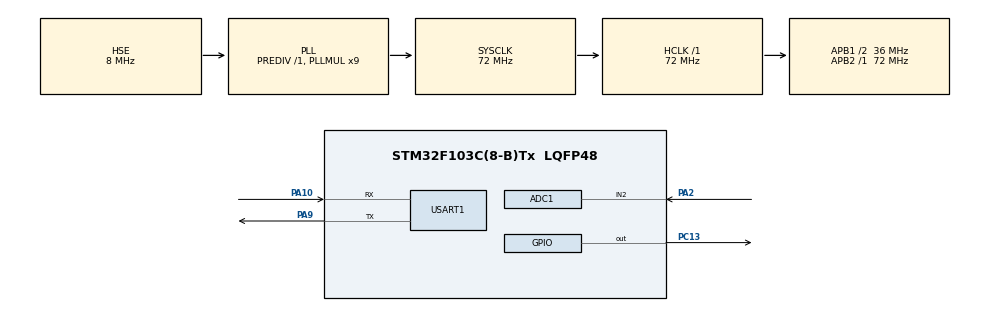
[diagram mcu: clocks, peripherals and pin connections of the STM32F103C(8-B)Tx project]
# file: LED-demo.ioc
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ADC1.Channel-2\#ChannelRegularConversion=ADC_CHANNEL_2
ADC1.NbrOfConversionFlag=1
ADC1.Rank-2\#ChannelRegularConversion=1
ADC1.SamplingTime-2\#ChannelRegularConversion=ADC_SAMPLETIME_71CYCLES_5
ADC1.master=1
Mcu.Family=STM32F1
Mcu.Name=STM32F103C(8-B)Tx
Mcu.Package=LQFP48
NVIC.PriorityGroup=NVIC_PRIORITYGROUP_4
NVIC.TIM2_IRQn=true\:0\:0\:false\:false\:true\:true\:true\:true
NVIC.USART1_IRQn=true\:0\:0\:false\:false\:true\:true\:true\:true
PA10.Mode=Asynchronous
PA10.Signal=USART1_RX
PA13.Mode=Serial_Wire
PA13.Signal=SYS_JTMS-SWDIO
PA14.Mode=Serial_Wire
PA14.Signal=SYS_JTCK-SWCLK
PA2.Signal=ADCx_IN2
PA9.Mode=Asynchronous
PA9.Signal=USART1_TX
PC13-TAMPER-RTC.GPIO_ModeDefaultOutputPP=GPIO_MODE_OUTPUT_OD
PC13-TAMPER-RTC.GPIO_PuPd=GPIO_NOPULL
PC13-TAMPER-RTC.PinState=GPIO_PIN_SET
PC13-TAMPER-RTC.Signal=GPIO_Output
PD0-OSC_IN.Mode=HSE-External-Oscillator
PD0-OSC_IN.Signal=RCC_OSC_IN
PD1-OSC_OUT.Mode=HSE-External-Oscillator
PD1-OSC_OUT.Signal=RCC_OSC_OUT
ProjectManager.HeapSize=0x200
ProjectManager.StackSize=0x400
ProjectManager.TargetToolchain=STM32CubeIDE
RCC.ADCPresc=RCC_ADCPCLK2_DIV6
RCC.AHBFreq_Value=72000000
RCC.APB1CLKDivider=RCC_HCLK_DIV2
RCC.APB1Freq_Value=36000000
RCC.APB1TimFreq_Value=72000000
RCC.APB2Freq_Value=72000000
RCC.APB2TimFreq_Value=72000000
RCC.HCLKFreq_Value=72000000
RCC.PLLMUL=RCC_PLL_MUL9
RCC.PLLSourceVirtual=RCC_PLLSOURCE_HSE
RCC.SYSCLKFreq_VALUE=72000000
RCC.SYSCLKSource=RCC_SYSCLKSOURCE_PLLCLK
RCC.USBFreq_Value=72000000
SH.ADCx_IN2.0=ADC1_IN2,IN2
TIM2.Period=9
TIM2.Prescaler=7199
USART1.VirtualMode=VM_ASYNC
VP_ADC1_Vref_Input.Mode=IN-Vrefint
VP_TIM2_VS_ClockSourceINT.Mode=Internal
board=custom

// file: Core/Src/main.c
/* USER CODE BEGIN Header */
/**
  ******************************************************************************
  * @file           : main.c
  * @brief          : Main program body
  ******************************************************************************
  * @attention
  *
  * Copyright (c) 2026 STMicroelectronics.
  * All rights reserved.
  *
  * This software is licensed under terms that can be found in the LICENSE file
  * in the root directory of this software component.
  * If no LICENSE file comes with this software, it is provided AS-IS.
  *
  ******************************************************************************
  */
/* USER CODE END Header */
#include "main.h"

/* USER CODE BEGIN Includes */
#include <stdio.h>
#include <string.h>
/* USER CODE END Includes */

ADC_HandleTypeDef hadc1;

TIM_HandleTypeDef htim2;

UART_HandleTypeDef huart1;

/* USER CODE BEGIN PV */
#define RX_BUF_SIZE 64
#define ADC_BUF_SIZE 16
/* USER CODE END PV */

void SystemClock_Config(void);
static void MX_GPIO_Init(void);
static void MX_USART1_UART_Init(void);
static void MX_TIM2_Init(void);
static void MX_ADC1_Init(void);

/* USER CODE BEGIN 0 */
typedef enum{
	REG_ADC_RAW = 0,
	REG_ADC_FILT,
	REG_PERIOD_MS,
	REG_OVF_CNT_H,
	REG_OVF_CNT_L,
	REG_SIZE
}reg_index_t;
uint8_t rx_byte;
uint8_t rx_buf[RX_BUF_SIZE];
volatile uint16_t reg_data[REG_SIZE];//reg[0]:原始�? ; reg[1]:滤波�? ; reg[2]:采样周期 ; reg[3]:溢出计数--overflow_cnt�?16�? ; reg[4]: overflow_cnt�?16�?;
volatile uint16_t rx_head = 0;
volatile uint16_t rx_tail = 0;
volatile uint32_t overflow_cnt = 0;
volatile uint32_t tick_ms = 0;
volatile uint16_t adc_raw = 0;
uint8_t adc_buf_idx = 0;
uint16_t hist_filled = 0;
/* USER CODE END 0 */

int main(void)
{

  /* MCU Configuration--------------------------------------------------------*/

  /* Reset of all peripherals, Initializes the Flash interface and the Systick. */
  HAL_Init();

  /* Configure the system clock */
  SystemClock_Config();

  /* Initialize all configured peripherals */
  MX_GPIO_Init();
  MX_USART1_UART_Init();
  MX_TIM2_Init();
  MX_ADC1_Init();
  /* USER CODE BEGIN 2 */
  HAL_UART_Receive_IT(&huart1,&rx_byte,1);

  HAL_TIM_Base_Start_IT(&htim2);
  HAL_ADCEx_Calibration_Start(&hadc1);
  reg_data[REG_PERIOD_MS] = 11;
    /* USER CODE END 2 */

  /* Infinite loop */
  /* USER CODE BEGIN WHILE */
  while (1)
  {
	 /* HAL_GPIO_WritePin(GPIOC,GPIO_PIN_13,GPIO_PIN_RESET);
	  HAL_Delay(1000);
	  HAL_GPIO_WritePin(GPIOC,GPIO_PIN_13,GPIO_PIN_SET);
	  HAL_Delay(1000);*/
	  static uint32_t last_samp = 0;
	  static uint32_t last_out = 0;
	  static uint32_t adc_last = 0;
	  static char buf[64] = {0};
	  static uint16_t adc_hst_buf[ADC_BUF_SIZE]={0};
	  uint32_t sum_buf = 0;
	  static uint32_t count_take = 0;

	  if(reg_data[REG_PERIOD_MS] < 10)
	  {
		  reg_data[REG_PERIOD_MS]=10;
	  }

	  if(tick_ms - last_samp >= 10)
	  {
		  last_samp += 10;

			  HAL_ADC_Start(&hadc1);
			  //HAL_UART_Transmit(&huart1,(uint8_t *)"1s\r\n",4,100);
			  if(HAL_ADC_PollForConversion(&hadc1,10) == HAL_OK)
			  {
				  reg_data[REG_ADC_RAW] = HAL_ADC_GetValue(&hadc1);
				  adc_hst_buf[adc_buf_idx] = reg_data[REG_ADC_RAW];
			  	  adc_buf_idx++;
			  	  count_take++;
			  	  if(hist_filled<ADC_BUF_SIZE)
			  	  {
			  		  hist_filled++;
			  	  }
			  }
			  HAL_ADC_Stop(&hadc1);
		  if(adc_buf_idx >= ADC_BUF_SIZE)
		  {
			  adc_buf_idx = 0;
		  }

	  }
	  if(tick_ms - last_out >= reg_data[REG_PERIOD_MS])
	  		  {
		  	  	  last_out += reg_data[REG_PERIOD_MS];

		  	  	  for(uint16_t i = 0;i<(hist_filled<ADC_BUF_SIZE?hist_filled:ADC_BUF_SIZE);i++)
		  	  	  {
		  	  		  sum_buf += adc_hst_buf[i];
		  	  	  }
	  			  adc_last = sum_buf/(hist_filled<ADC_BUF_SIZE?hist_filled:ADC_BUF_SIZE);
	  			  reg_data[REG_ADC_FILT] = adc_last;
	  			  adc_raw = adc_last * 3300 / 4095;
	  			  uint32_t ovf = ((uint32_t)reg_data[REG_OVF_CNT_H]<<16)|(uint32_t)reg_data[REG_OVF_CNT_L];
	  			  snprintf(buf,sizeof(buf),"ADC:%lu,voltage:%u mV,cycle_count:%lu,over_cnt:%lu\r\n",adc_last,adc_raw,count_take,ovf);

	  			  HAL_UART_Transmit(&huart1,(uint8_t *)buf,strlen(buf),100);

	  		  }
	  while(rx_head != rx_tail)
	  {
		  uint8_t b = rx_buf[rx_tail];
		  rx_tail = (rx_tail+1)%RX_BUF_SIZE;
		  HAL_UART_Transmit(&huart1,&b,1,100);
	  }
    /* USER CODE END WHILE */

  }
}

void SystemClock_Config(void)
{
  RCC_OscInitTypeDef RCC_OscInitStruct = {0};
  RCC_ClkInitTypeDef RCC_ClkInitStruct = {0};
  RCC_PeriphCLKInitTypeDef PeriphClkInit = {0};

  /** Initializes the RCC Oscillators according to the specified parameters
  * in the RCC_OscInitTypeDef structure.
  */
  RCC_OscInitStruct.OscillatorType = RCC_OSCILLATORTYPE_HSE;
  RCC_OscInitStruct.HSEState = RCC_HSE_ON;
  RCC_OscInitStruct.HSEPredivValue = RCC_HSE_PREDIV_DIV1;
  RCC_OscInitStruct.HSIState = RCC_HSI_ON;
  RCC_OscInitStruct.PLL.PLLState = RCC_PLL_ON;
  RCC_OscInitStruct.PLL.PLLSource = RCC_PLLSOURCE_HSE;
  RCC_OscInitStruct.PLL.PLLMUL = RCC_PLL_MUL9;
  if (HAL_RCC_OscConfig(&RCC_OscInitStruct) != HAL_OK)
  {
    Error_Handler();
  }

  /** Initializes the CPU, AHB and APB buses clocks
  */
  RCC_ClkInitStruct.ClockType = RCC_CLOCKTYPE_HCLK|RCC_CLOCKTYPE_SYSCLK
                              |RCC_CLOCKTYPE_PCLK1|RCC_CLOCKTYPE_PCLK2;
  RCC_ClkInitStruct.SYSCLKSource = RCC_SYSCLKSOURCE_PLLCLK;
  RCC_ClkInitStruct.AHBCLKDivider = RCC_SYSCLK_DIV1;
  RCC_ClkInitStruct.APB1CLKDivider = RCC_HCLK_DIV2;
  RCC_ClkInitStruct.APB2CLKDivider = RCC_HCLK_DIV1;

  if (HAL_RCC_ClockConfig(&RCC_ClkInitStruct, FLASH_LATENCY_2) != HAL_OK)
  {
    Error_Handler();
  }
  PeriphClkInit.PeriphClockSelection = RCC_PERIPHCLK_ADC;
  PeriphClkInit.AdcClockSelection = RCC_ADCPCLK2_DIV6;
  if (HAL_RCCEx_PeriphCLKConfig(&PeriphClkInit) != HAL_OK)
  {
    Error_Handler();
  }
}

static void MX_ADC1_Init(void)
{

  ADC_ChannelConfTypeDef sConfig = {0};

  /** Common config
  */
  hadc1.Instance = ADC1;
  hadc1.Init.ScanConvMode = ADC_SCAN_DISABLE;
  hadc1.Init.ContinuousConvMode = DISABLE;
  hadc1.Init.DiscontinuousConvMode = DISABLE;
  hadc1.Init.ExternalTrigConv = ADC_SOFTWARE_START;
  hadc1.Init.DataAlign = ADC_DATAALIGN_RIGHT;
  hadc1.Init.NbrOfConversion = 1;
  if (HAL_ADC_Init(&hadc1) != HAL_OK)
  {
    Error_Handler();
  }

  /** Configure Regular Channel
  */
  sConfig.Channel = ADC_CHANNEL_2;
  sConfig.Rank = ADC_REGULAR_RANK_1;
  sConfig.SamplingTime = ADC_SAMPLETIME_71CYCLES_5;
  if (HAL_ADC_ConfigChannel(&hadc1, &sConfig) != HAL_OK)
  {
    Error_Handler();
  }

}

static void MX_TIM2_Init(void)
{

  TIM_ClockConfigTypeDef sClockSourceConfig = {0};
  TIM_MasterConfigTypeDef sMasterConfig = {0};

  htim2.Instance = TIM2;
  htim2.Init.Prescaler = 7199;
  htim2.Init.CounterMode = TIM_COUNTERMODE_UP;
  htim2.Init.Period = 9;
  htim2.Init.ClockDivision = TIM_CLOCKDIVISION_DIV1;
  htim2.Init.AutoReloadPreload = TIM_AUTORELOAD_PRELOAD_DISABLE;
  if (HAL_TIM_Base_Init(&htim2) != HAL_OK)
  {
    Error_Handler();
  }
  sClockSourceConfig.ClockSource = TIM_CLOCKSOURCE_INTERNAL;
  if (HAL_TIM_ConfigClockSource(&htim2, &sClockSourceConfig) != HAL_OK)
  {
    Error_Handler();
  }
  sMasterConfig.MasterOutputTrigger = TIM_TRGO_RESET;
  sMasterConfig.MasterSlaveMode = TIM_MASTERSLAVEMODE_DISABLE;
  if (HAL_TIMEx_MasterConfigSynchronization(&htim2, &sMasterConfig) != HAL_OK)
  {
    Error_Handler();
  }

}

static void MX_USART1_UART_Init(void)
{

  huart1.Instance = USART1;
  huart1.Init.BaudRate = 115200;
  huart1.Init.WordLength = UART_WORDLENGTH_8B;
  huart1.Init.StopBits = UART_STOPBITS_1;
  huart1.Init.Parity = UART_PARITY_NONE;
  huart1.Init.Mode = UART_MODE_TX_RX;
  huart1.Init.HwFlowCtl = UART_HWCONTROL_NONE;
  huart1.Init.OverSampling = UART_OVERSAMPLING_16;
  if (HAL_UART_Init(&huart1) != HAL_OK)
  {
    Error_Handler();
  }

}

static void MX_GPIO_Init(void)
{
  GPIO_InitTypeDef GPIO_InitStruct = {0};

  /* GPIO Ports Clock Enable */
  __HAL_RCC_GPIOC_CLK_ENABLE();
  __HAL_RCC_GPIOD_CLK_ENABLE();
  __HAL_RCC_GPIOA_CLK_ENABLE();

  /*Configure GPIO pin Output Level */
  HAL_GPIO_WritePin(GPIOC, GPIO_PIN_13, GPIO_PIN_SET);

  /*Configure GPIO pin : PC13 */
  GPIO_InitStruct.Pin = GPIO_PIN_13;
  GPIO_InitStruct.Mode = GPIO_MODE_OUTPUT_OD;
  GPIO_InitStruct.Pull = GPIO_NOPULL;
  GPIO_InitStruct.Speed = GPIO_SPEED_FREQ_LOW;
  HAL_GPIO_Init(GPIOC, &GPIO_InitStruct);

}

/* USER CODE BEGIN 4 */
void HAL_UART_RxCpltCallback(UART_HandleTypeDef *huart)
{
	if(huart->Instance == USART1)
	{

		if((rx_head+1)%RX_BUF_SIZE != rx_tail)
		{
			rx_buf[rx_head] = rx_byte;
			rx_head = (rx_head+1)%RX_BUF_SIZE;
		}
		HAL_UART_Receive_IT(&huart1,&rx_byte,1);
	}

}
void HAL_UART_ErrorCallback(UART_HandleTypeDef *huart)
{
	if(huart->Instance == USART1)
	{
		overflow_cnt++;
		reg_data[REG_OVF_CNT_H] = (uint16_t)(overflow_cnt>>16);
		reg_data[REG_OVF_CNT_L] = (uint16_t)overflow_cnt;
		__HAL_UART_CLEAR_OREFLAG(huart);
		HAL_UART_Receive_IT(&huart1,&rx_byte,1);
	}
}
void HAL_TIM_PeriodElapsedCallback(TIM_HandleTypeDef *htim)
{
	if(htim->Instance == TIM2)tick_ms++;
}
/* USER CODE END 4 */

void Error_Handler(void)
{
  __disable_irq();
  while (1)
  {
  }
}
